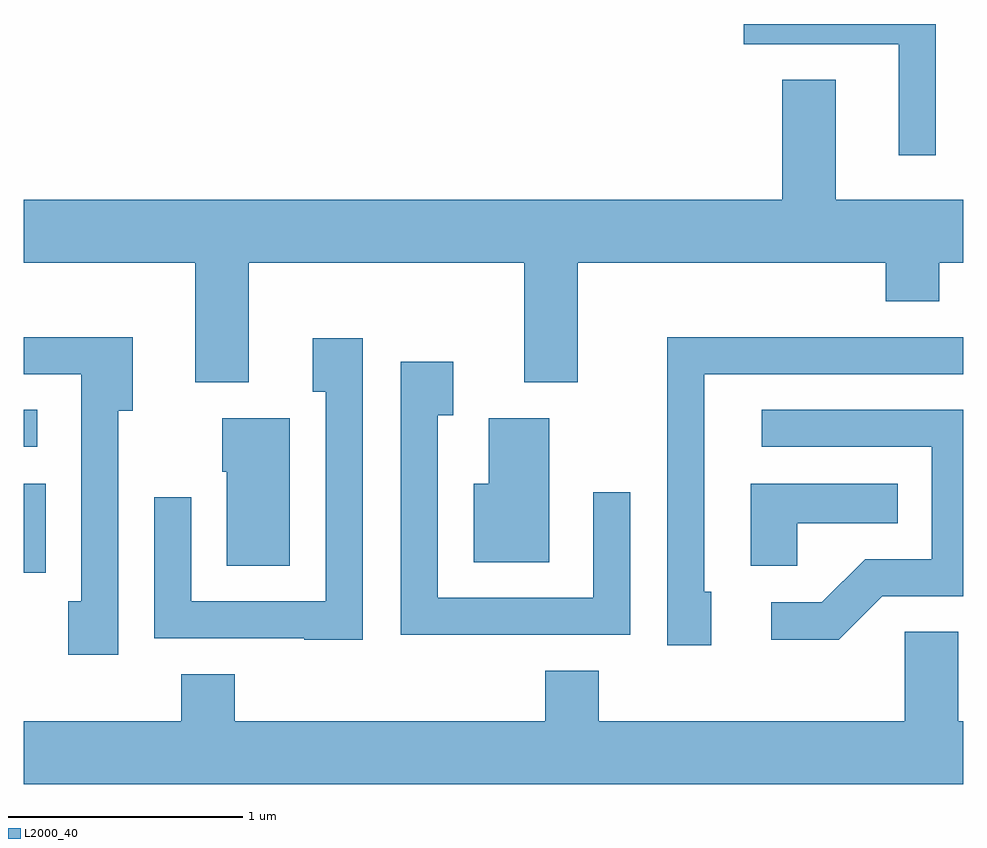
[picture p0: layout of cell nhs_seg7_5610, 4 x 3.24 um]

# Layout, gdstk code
import gdstk
lib = gdstk.Library(unit=1e-6, precision=1e-09)
def R(c, l, rs):  # rectangles x0, y0, x1, y1
    for r in rs: c.add(gdstk.rectangle(r[:2], r[2:], *l))
def P(c, l, *ps):  # polygons
    for p in ps: c.add(gdstk.Polygon(p, *l))
L2000_40 = (2000, 40)

nhs_seg7_5610 = lib.new_cell('nhs_seg7_5610')
R(nhs_seg7_5610, L2000_40, [(357.611,1681.916,357.704,1682.294), (357.611,1682.451,357.668,1682.609)])
P(nhs_seg7_5610, L2000_40, [(361.494,1684.252),(360.676,1684.252),(360.676,1684.166),(361.336,1684.166),(361.336,1683.693),(361.494,1683.693)],
  [(358.569,1683.236),(359.741,1683.236),(359.741,1682.726),(359.969,1682.726),(359.969,1683.236),(361.281,1683.236),(361.281,1683.071),(361.509,1683.071),(361.509,1683.236),(361.611,1683.236),(361.611,1683.504),(361.069,1683.504),(361.069,1684.014),(360.841,1684.014),(360.841,1683.504),(357.611,1683.504),(357.611,1683.236),(358.341,1683.236),(358.341,1682.726),(358.569,1682.726)],
  [(358.014,1682.606),(358.074,1682.606),(358.074,1682.919),(357.611,1682.919),(357.611,1682.761),(357.856,1682.761),(357.856,1681.794),(357.801,1681.794),(357.801,1681.566),(358.014,1681.566)],
  [(360.539,1681.834),(360.509,1681.834),(360.509,1682.761),(361.611,1682.761),(361.611,1682.919),(360.351,1682.919),(360.351,1681.606),(360.539,1681.606)],
  [(359.054,1682.914),(358.841,1682.914),(358.841,1682.686),(358.896,1682.686),(358.896,1681.794),(358.324,1681.794),(358.324,1682.238),(358.166,1682.238),(358.166,1681.636),(358.805,1681.636),(358.805,1681.631),(359.054,1681.631)],
  [(360.194,1682.258),(360.036,1682.258),(360.036,1681.809),(359.374,1681.809),(359.374,1682.586),(359.439,1682.586),(359.439,1682.814),(359.216,1682.814),(359.216,1681.651),(360.194,1681.651)],
  [(361.267,1681.816),(361.611,1681.816),(361.611,1682.609),(360.753,1682.609),(360.753,1682.451),(361.476,1682.451),(361.476,1681.974),(361.194,1681.974),(361.009,1681.789),(360.793,1681.789),(360.793,1681.631),(361.082,1681.631)],
  [(358.744,1682.574),(358.456,1682.574),(358.456,1682.346),(358.476,1682.346),(358.476,1681.946),(358.744,1681.946)],
  [(359.849,1682.574),(359.591,1682.574),(359.591,1682.294),(359.526,1682.294),(359.526,1681.961),(359.849,1681.961)],
  [(360.904,1682.126),(361.333,1682.126),(361.333,1682.294),(360.706,1682.294),(360.706,1681.946),(360.904,1681.946)],
  [(361.611,1681.284),(361.589,1681.284),(361.589,1681.664),(361.361,1681.664),(361.361,1681.284),(360.059,1681.284),(360.059,1681.499),(359.831,1681.499),(359.831,1681.284),(358.509,1681.284),(358.509,1681.484),(358.281,1681.484),(358.281,1681.284),(357.611,1681.284),(357.611,1681.016),(361.611,1681.016)])

lib.write_gds('nhs_seg7_5610.gds')
